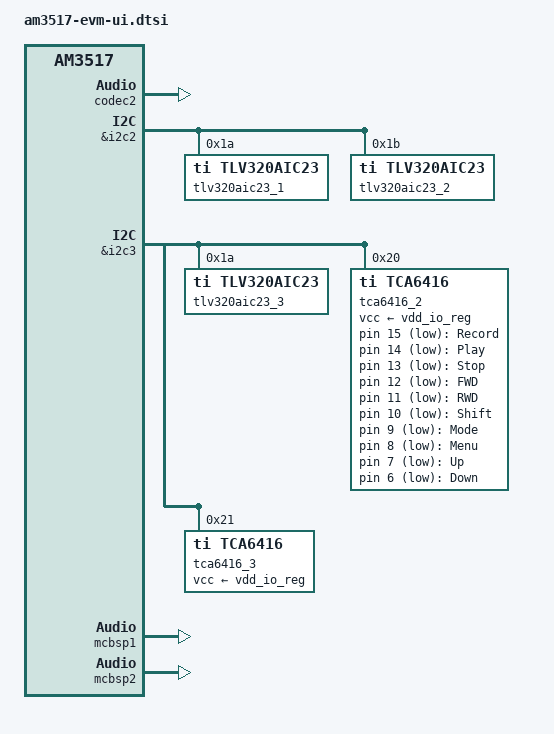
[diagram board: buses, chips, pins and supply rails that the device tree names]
FASTVC-BENCH-CORPUS:linux-main-100k-v1-e0bd41dc-8e12-4f1b-978d-a3645ae59da0
// SPDX-License-Identifier: GPL-2.0-only
/*
 * Copyright (C) 2018 Logic PD, Inc - https://www.logicpd.com/
 */

/* bench 1726.0.0 91d832d0fc9e */
/* bench 1726.0.1 8262fe8a0eb6 */
/* bench 1726.0.2 5a6f2b38a2f0 */
/* bench 1726.0.3 0cbe870aaf60 */
/* bench 1726.0.4 752bddac45eb */
/* bench 1726.0.5 3860050039e6 */
/* bench 1726.0.6 afa13cf1936b */
/* bench 1726.0.7 ef51d49a28d7 */
/* bench 1726.0.8 00b1795f1bbc */
/* bench 1726.0.9 1fa2cace68d0 */
/* bench 1726.0.10 f174b031a356 */
/* bench 1726.0.11 ed0a48f345dc */
/* bench 1726.0.12 46bc5e25c435 */
/* bench 1726.0.13 a75969ca4d5f */
/* bench 1726.0.14 c52f8e8af8f5 */
/* bench 1726.0.15 a1c3cb588363 */
/* bench 1726.0.16 eeb53860c8fe */

/ {
	codec1 {
		compatible = "simple-audio-card";
		simple-audio-card,name = "tlv320aic23-hifi";

		simple-audio-card,widgets =
			"Microphone", "Mic In",
			"Line", "Line In",
			"Line", "Line Out";

		simple-audio-card,routing =
			"Line Out", "LOUT",
			"Line Out", "ROUT",
			"LLINEIN", "Line In",
			"RLINEIN", "Line In",
			"MICIN", "Mic In";

		simple-audio-card,format = "i2s";
		simple-audio-card,bitclock-master = <&sound_master>;
		simple-audio-card,frame-master = <&sound_master>;

		simple-audio-card,cpu {
			sound-dai = <&mcbsp1>;
		};

		sound_master: simple-audio-card,codec {
			sound-dai = <&tlv320aic23_1>;
/* bench 11065.0.0 96e7c488b9a8 */
/* bench 11065.0.1 3bc381b26dff */
/* bench 11065.0.2 4c312bc72800 */
/* bench 11065.0.3 633b70452223 */
/* bench 11065.0.4 881bde742ebb */
/* bench 11065.0.5 2aaa4b546e00 */
/* bench 11065.0.6 313f9b23c9d6 */
/* bench 11065.0.7 fc3a24089046 */
/* bench 11065.0.8 f3133665e393 */
/* bench 11065.0.9 7f4e6cb2d4af */
/* bench 11065.0.10 e26ee3c502fe */
/* bench 11065.0.11 49c8bf4bb111 */
	};

	codec2 {
		compatible = "simple-audio-card";
		simple-audio-card,name = "tlv320aic23-hifi";

		simple-audio-card,widgets =
			"Microphone", "Mic In",
			"Line", "Line In",
			"Line", "Line Out";

		simple-audio-card,routing =
			"Line Out", "LOUT",
			"Line Out", "ROUT",
			"LLINEIN", "Line In",
			"RLINEIN", "Line In",
			"MICIN", "Mic In";

		simple-audio-card,format = "i2s";
		simple-audio-card,bitclock-master = <&sound_master2>;
		simple-audio-card,frame-master = <&sound_master2>;

		simple-audio-card,cpu {
			sound-dai = <&mcbsp2>;
		};

		sound_master2: simple-audio-card,codec {
			sound-dai = <&tlv320aic23_2>;
			system-clock-frequency = <12000000>;
		};
	};

	expander-keys {
		compatible = "gpio-keys-polled";
		poll-interval = <100>;

		record {
			label = "Record";
			/* linux,code = <BTN_0>; */
			gpios = <&tca6416_2 15 GPIO_ACTIVE_LOW>;
		};

		play {
			label = "Play";
			linux,code = <KEY_PLAY>;
			gpios = <&tca6416_2 14 GPIO_ACTIVE_LOW>;
		};

		Stop {
			label = "Stop";
			linux,code = <KEY_STOP>;
			gpios = <&tca6416_2 13 GPIO_ACTIVE_LOW>;
		};

		fwd {
			label = "FWD";
			linux,code = <KEY_FASTFORWARD>;
			gpios = <&tca6416_2 12 GPIO_ACTIVE_LOW>;
		};

		rwd {
			label = "RWD";
			linux,code = <KEY_REWIND>;
			gpios = <&tca6416_2 11 GPIO_ACTIVE_LOW>;
		};

		shift {
			label = "Shift";
			linux,code = <KEY_LEFTSHIFT>;
			gpios = <&tca6416_2 10 GPIO_ACTIVE_LOW>;
		};

		Mode {
			label = "Mode";
			linux,code = <BTN_MODE>;
			gpios = <&tca6416_2 9 GPIO_ACTIVE_LOW>;
		};

		Menu {
			label = "Menu";
			linux,code = <KEY_MENU>;
			gpios = <&tca6416_2 8 GPIO_ACTIVE_LOW>;
		};

		Up {
			label = "Up";
			linux,code = <KEY_UP>;
			gpios = <&tca6416_2 7 GPIO_ACTIVE_LOW>;
		};

		Down {
			label = "Down";
			linux,code = <KEY_DOWN>;
			gpios = <&tca6416_2 6 GPIO_ACTIVE_LOW>;
		};
	};
};

&i2c2 {
	/* Audio codecs */
	tlv320aic23_1: codec@1a {
		compatible = "ti,tlv320aic23";
		reg = <0x1a>;
		#sound-dai-cells= <0>;
		status = "okay";
	};

	tlv320aic23_2: codec@1b {
		compatible = "ti,tlv320aic23";
		reg = <0x1b>;
		#sound-dai-cells= <0>;
		status = "okay";
	};
};

&i2c3 {
	/* Audio codecs */
	tlv320aic23_3: codec@1a {
		compatible = "ti,tlv320aic23";
		reg = <0x1a>;
		#sound-dai-cells= <0>;
		status = "okay";
	};

	/* GPIO Expanders */
	tca6416_2: gpio@20 {
		compatible = "ti,tca6416";
		reg = <0x20>;
		gpio-controller;
		#gpio-cells = <2>;
		vcc-supply = <&vdd_io_reg>;
	};

	tca6416_3: gpio@21 {
		compatible = "ti,tca6416";
		reg = <0x21>;
		gpio-controller;
		#gpio-cells = <2>;
		vcc-supply = <&vdd_io_reg>;
	};

	/* TVP5146 Analog Video decoder input */
/* bench 13487.1.0 766221efa35b */
/* bench 13487.1.1 2fd7bd6b1466 */
/* bench 13487.1.2 6b47d643a14e */
/* bench 13487.1.3 385abe4456a7 */
/* bench 13487.1.4 f4d262b1de1c */
/* bench 13487.1.5 d6b0121c1f73 */
/* bench 13487.1.6 cefaf2766c28 */
/* bench 13487.1.7 17ad08c44542 */
/* bench 13487.1.8 4bdea527726d */
/* bench 13487.1.9 98f1210269ba */
/* bench 13487.1.10 25bf1ae9937c */
/* bench 13487.1.11 3145c6f90a24 */
/* bench 13487.1.12 878f3e94a1c4 */
/* bench 13487.1.13 aa67d931df5d */
/* bench 13487.1.14 907dd6c5246c */
	};
};

&mcbsp1 {
	status = "okay";
	#sound-dai-cells = <0>;
	pinctrl-names = "default";
	pinctrl-0 = <&mcbsp1_pins>;
};

&mcbsp2 {
	status = "okay";
	#sound-dai-cells = <0>;
	pinctrl-names = "default";
	pinctrl-0 = <&mcbsp2_pins>;
};

&omap3_pmx_core {
	mcbsp1_pins: pinmux_mcbsp1_pins {
		pinctrl-single,pins = <
			OMAP3_CORE1_IOPAD(0x2190, PIN_OUTPUT | MUX_MODE0)	/* mcbsp1_dx.mcbsp1_dx */
			OMAP3_CORE1_IOPAD(0x2192, PIN_INPUT | MUX_MODE0)	/* mcbsp1_dx.mcbsp1_dr */
			OMAP3_CORE1_IOPAD(0x2196, PIN_INPUT | MUX_MODE0)	/* mcbsp_clks.mcbsp1_fsx */
			OMAP3_CORE1_IOPAD(0x2198, PIN_INPUT | MUX_MODE0)	/* mcbsp1_clkx.mcbsp1_clkx */
		>;
	};

	mcbsp2_pins: pinmux_mcbsp2_pins {
		pinctrl-single,pins = <
			OMAP3_CORE1_IOPAD(0x213c, PIN_INPUT | MUX_MODE0)	/* mcbsp2_fsx.mcbsp2_fsx */
			OMAP3_CORE1_IOPAD(0x213e, PIN_INPUT | MUX_MODE0)	/* mcbsp2_clkx.mcbsp2_clkx */
			OMAP3_CORE1_IOPAD(0x2140, PIN_INPUT | MUX_MODE0)	/* mcbsp2_dr.mcbsp2.dr */
			OMAP3_CORE1_IOPAD(0x2142, PIN_OUTPUT | MUX_MODE0)	/* mcbsp2_dx.mcbsp2_dx */
		>;
	};
};
